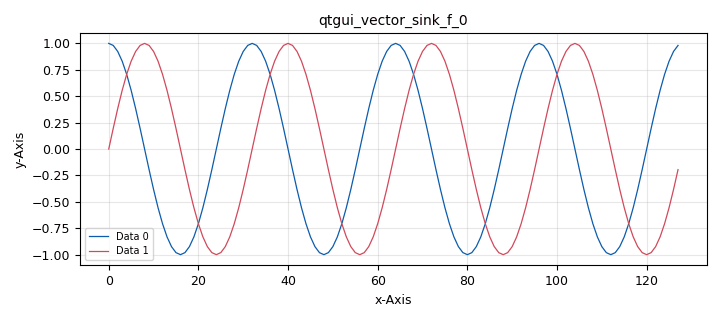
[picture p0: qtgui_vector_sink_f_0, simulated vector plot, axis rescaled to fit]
options:
  parameters:
    author: ashwin
    generate_options: qt_gui
    id: streamtest
    output_language: python
    title: Not titled yet
  states: {}

blocks:
- name: samp_rate
  id: variable
  parameters:
    value: '32000'
  states: {}
- name: analog_sig_source_x_0
  id: analog_sig_source_x
  parameters:
    amp: '1'
    freq: '1000'
    offset: '0'
    phase: '0'
    samp_rate: samp_rate
    type: complex
    waveform: analog.GR_COS_WAVE
  states: {}
- name: blocks_complex_to_float_0
  id: blocks_complex_to_float
  parameters:
    vlen: '128'
  states: {}
- name: blocks_stream_to_vector_0
  id: blocks_stream_to_vector
  parameters:
    num_items: '128'
    type: complex
  states: {}
- name: qtgui_vector_sink_f_0
  id: qtgui_vector_sink_f
  parameters:
    nconnections: '2'
    vlen: '128'
    x_start: '0'
    x_step: '1.0'
  states: {}

connections:
- [analog_sig_source_x_0, '0', blocks_stream_to_vector_0, '0']
- [blocks_complex_to_float_0, '0', qtgui_vector_sink_f_0, '0']
- [blocks_complex_to_float_0, '1', qtgui_vector_sink_f_0, '1']
- [blocks_stream_to_vector_0, '0', blocks_complex_to_float_0, '0']

metadata:
  file_format: 1
